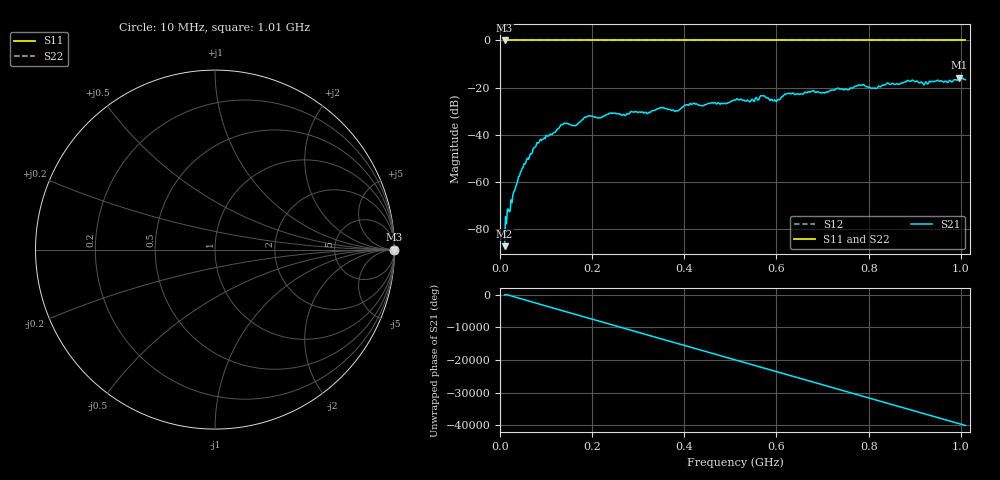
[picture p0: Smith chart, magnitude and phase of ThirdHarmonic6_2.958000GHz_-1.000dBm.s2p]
! 8/17/2025 8:20:23 AM
! C:\ANRITSUVNA\TEMP\TEMP.S2P
! CHANNEL.1
! TR.MEASUREMENT
! RAW.DATA
! RF.CORRECTION.OFF
! AVERAGING.OFF
! IF.BANDWIDTH: 5KHZ
! SWEEPTYPE:  FREQ.SWEEP(Linear)
! Reference Plane Port Info
! PORT:  PORT1  PORT2
! DISTANCE:  0  m  0  m
! TIME:  0  s  0  s
! PHASE.OFFSET:  0  deg.  0  deg.
! LOSS:  0  dB  0  dB
! REF.LOSS:  0  dB  0  dB
! REF.FREQ:  0  Hz  0  Hz
! Power Info
! POWER:  -20  dBm  -20  dBm
! EFF.POWER:  -20  dBm  -20  dBm
! SOURCE.ATTEN:  0  dB  0  dB
! TEST.ATTEN:  0  dB  0  dB
# GHZ S RI R 50.0
! FREQ.GHZ  S11RE  S11IM  S21RE  S21IM  S12RE  S12IM  S22RE  S22IM
!; PortSelection: Port_12
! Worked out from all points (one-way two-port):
!   501 points, 10 MHz to 1.01 GHz, reference 50 ohm
!   highest |S21| = -15.73 dB at 996 MHz (marker M1); lowest = -87.2 dB at 10 MHz (marker M2)
!   lowest |S11| = 0.0 dB at 10 MHz (marker M3)
!   |S11| at or under -10 dB: nowhere
!   |S22| runs from 0.0 to 0.0 dB; largest |S21 - S12| = 1.2
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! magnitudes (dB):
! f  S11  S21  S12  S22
! 10 MHz  0.0  -87.2  0.0  0.0
! 44 MHz  0.0  -56.1  0.0  0.0
! 76 MHz  0.0  -45.2  0.0  0.0
! 136 MHz  0.0  -35.7  0.0  0.0
! 162 MHz  0.0  -36.1  0.0  0.0
! 178 MHz  0.0  -33.6  0.0  0.0
! 192 MHz  0.0  -31.9  0.0  0.0
! 322 MHz  0.0  -30.6  0.0  0.0
! 344 MHz  0.0  -29.0  0.0  0.0
! 382 MHz  0.0  -29.9  0.0  0.0
! 416 MHz  0.0  -27.1  0.0  0.0
! 510 MHz  0.0  -25.3  0.0  0.0
! 546 MHz  0.0  -25.0  0.0  0.0
! 570 MHz  0.0  -23.5  0.0  0.0
! 596 MHz  0.0  -25.1  0.0  0.0
! 622 MHz  0.0  -22.7  0.0  0.0
! 678 MHz  0.0  -21.5  0.0  0.0
! 784 MHz  0.0  -19.1  0.0  0.0
! 814 MHz  0.0  -20.2  0.0  0.0
! 844 MHz  0.0  -18.4  0.0  0.0
! 996 MHz  0.0  -15.7  0.0  0.0
! 1.01 GHz  0.0  -16.7  0.0  0.0
